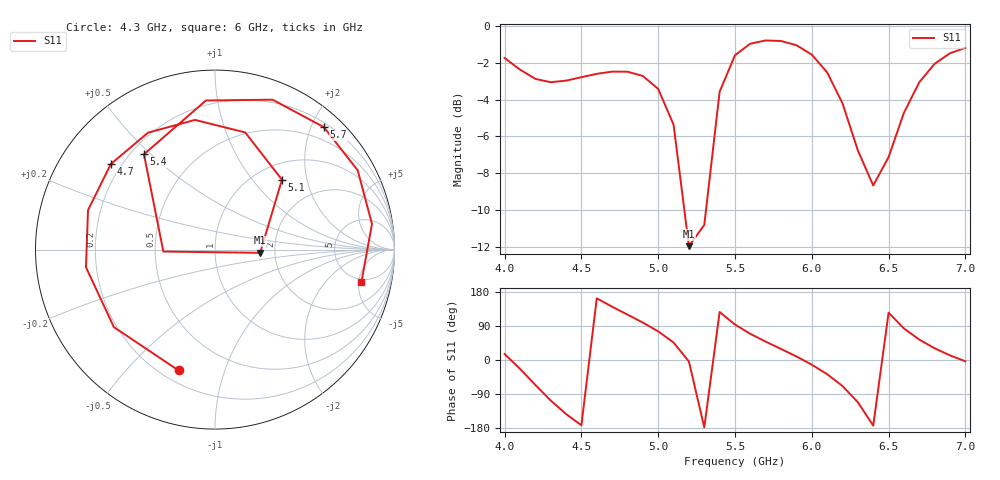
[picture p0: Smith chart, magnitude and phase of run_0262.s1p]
! Touchstone file exported from HFSS 2024.2.0
!  File:  C:/Users/wsak9/Desktop/Sim Fast/Widenad Patch/WP_AI_V1_sweep.aedt
!  Generated:  02:01:43 AM Oct 14, 2026
!  Design:  A1_model
!  Project:  WP_AI_V1_sweep
!  Setup:  Setup1
!  Solution:  Sweep
! Variables:
!  Air_gap = 4.64mm
!  Curve_Amp1 = 3.21
!  Curve_len1 = 1
!  Curve_pos = 11.59mm
!  Extra = 6.26mm
!  H_sub = 0.79mm
!  L_Patch = 19.18mm
!  L_Patch1 = 18.31mm
!  Sx = 3.3mm
!  Sy = 2.61mm
!  WS = 0.91mm
!  W_Patch = 10.41mm
!  W_Patch1 = 12.05mm
!Data is not renormalized
# GHz S MA
! Terminal data exported
! Port[1] = 1
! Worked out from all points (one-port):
!   31 points, 4 GHz to 7 GHz, reference per port
!   lowest |S11| = -12.0 dB at 5.2 GHz (marker M1), VSWR 1.67
!   |S11| at or under -10 dB: 5.17 GHz to 5.311 GHz (141 MHz wide, 2.69 % of centre)
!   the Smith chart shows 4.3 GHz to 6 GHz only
!   S11 on the Smith chart (normalised r, x): 4.3 GHz: 0.27, -0.71; 4.7 GHz: 0.16, +0.35; 5.1 GHz: 1.30, +1.43; 5.4 GHz: 0.25, +0.48; 5.7 GHz: 0.27, +2.20; 6 GHz: 4.59, -5.43
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4  0.818 15.8
4.1  0.7608 -23.2
4.2  0.7179 -65.7
4.3  0.7031 -106.8
4.4  0.71 -142.5
4.5  0.7255 -172.2
4.7  0.7511 140.6
4.8  0.7508 119.8
4.9  0.7311 98.8
5  0.6741 75.5
5.1  0.5393 46.2
5.2  0.2521 -4.1
5.3  0.288 -177.9
5.4  0.6624 126.7
5.5  0.8324 93.5
5.6  0.8948 69.0
5.7  0.9129 48.4
5.9  0.8863 9.3
6  0.8355 -12.4
6.1  0.7477 -37.5
6.2  0.6158 -68.7
6.3  0.4588 -111.5
6.4  0.3685 -173.3
6.5  0.4402 124.9
6.6  0.5809 83.2
6.7  0.7032 53.7
6.8  0.789 30.8
7  0.8715 -3.5
